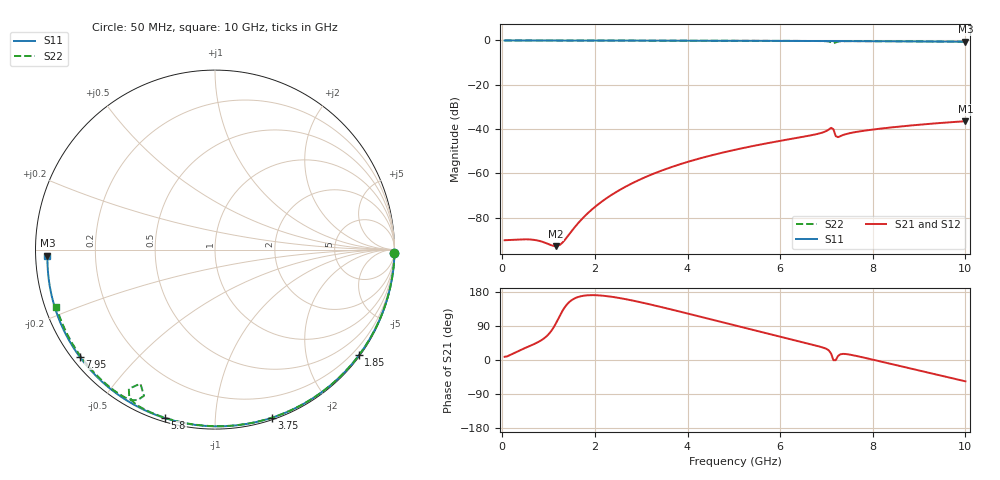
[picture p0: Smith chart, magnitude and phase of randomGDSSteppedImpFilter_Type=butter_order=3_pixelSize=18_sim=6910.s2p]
! freq	dB(S11)	phase(S11)	dB(S12)	phase(S12)
!  dB(S21)	phase(S21)	dB(S22)	phase(S22)
!S-par simulation data
#  GHz  S  DB  R 50
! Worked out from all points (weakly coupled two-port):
!   200 points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, 50 MHz to 10 GHz, reference 50 ohm
!   highest |S21| = -36.50 dB at 10 GHz (marker M1); lowest = -92.9 dB at 1.15 GHz (marker M2)
!   lowest |S11| = -0.6 dB at 10 GHz (marker M3), VSWR 29.42, Z = 1.7 - j0.911 ohm
!   |S11| at or under -10 dB: nowhere
!   |S22| runs from -1.4 to 0.0 dB; largest |S21 - S12| = 0
!   S11 on the Smith chart (normalised r, x): 50 MHz: open; 1.85 GHz: 0.03, -3.05; 3.75 GHz: 0.02, -1.39; 5.8 GHz: 0.02, -0.75; 7.95 GHz: 0.02, -0.35; 10 GHz: 0.03, -0.02
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0.05  -0.00 -1.0  -90.25 8.5  -90.25 8.5  -0.00 -0.9
1.15  -0.03 -22.8  -92.94 94.8  -92.94 94.8  -0.03 -21.1
1.75  -0.04 -34.4  -80.01 169.5  -80.01 169.5  -0.04 -31.9
1.85  -0.05 -36.3  -77.96 170.8  -77.96 170.8  -0.04 -33.7
2.15  -0.05 -42.0  -72.78 169.9  -72.78 169.9  -0.05 -39.0
2.5  -0.06 -48.6  -67.97 164.2  -67.97 164.2  -0.06 -45.1
2.9  -0.07 -56.0  -63.55 154.7  -63.55 154.7  -0.07 -52.0
3.4  -0.09 -65.2  -59.11 140.7  -59.11 140.7  -0.08 -60.5
3.75  -0.10 -71.4  -56.53 130.3  -56.53 130.3  -0.09 -66.4
5.05  -0.14 -94.0  -49.28 90.5  -49.28 90.5  -0.14 -87.3
5.8  -0.18 -106.5  -46.13 67.6  -46.13 67.6  -0.17 -98.9
6.7  -0.24 -121.2  -42.72 40.3  -42.72 40.3  -0.23 -113.0
7  -0.26 -126.1  -40.88 29.3  -40.88 29.3  -0.35 -118.8
7.1  -0.27 -127.8  -39.48 17.1  -39.48 17.1  -0.80 -121.8
7.15  -0.27 -128.6  -40.12 -0.5  -40.12 -0.5  -1.36 -119.1
7.2  -0.27 -129.4  -43.22 -0.5  -43.22 -0.5  -0.87 -115.9
7.25  -0.28 -130.2  -43.68 10.6  -43.68 10.6  -0.52 -117.2
7.5  -0.30 -134.3  -41.89 14.3  -41.89 14.3  -0.31 -122.7
7.95  -0.34 -141.7  -40.39 2.3  -40.39 2.3  -0.32 -129.9
8.35  -0.38 -148.3  -39.41 -9.1  -39.41 -9.1  -0.35 -135.8
9.2  -0.48 -163.0  -37.72 -33.4  -37.72 -33.4  -0.44 -148.3
10  -0.59 -177.9  -36.50 -56.3  -36.50 -56.3  -0.54 -160.2
